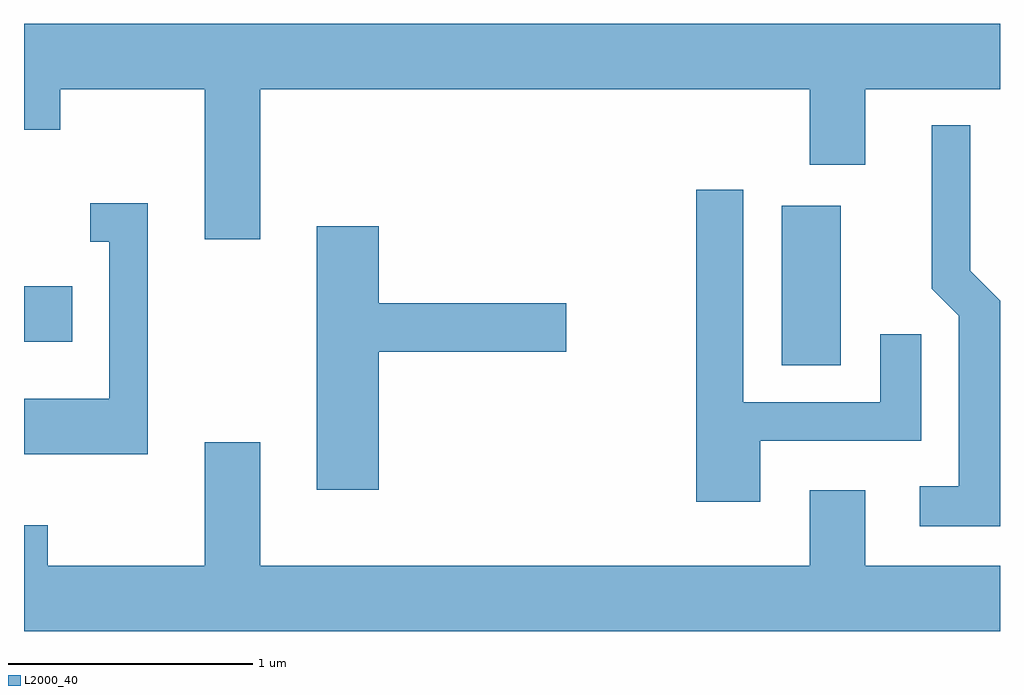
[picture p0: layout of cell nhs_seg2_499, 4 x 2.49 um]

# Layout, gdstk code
import gdstk
lib = gdstk.Library(unit=1e-6, precision=1e-09)
def R(c, l, rs):  # rectangles x0, y0, x1, y1
    for r in rs: c.add(gdstk.rectangle(r[:2], r[2:], *l))
def P(c, l, *ps):  # polygons
    for p in ps: c.add(gdstk.Polygon(p, *l))
L2000_40 = (2000, 40)

nhs_seg2_499 = lib.new_cell('nhs_seg2_499')
R(nhs_seg2_499, L2000_40, [(202.716,1024.986,202.959,1025.639), (199.611,1025.081,199.809,1025.309)])
P(nhs_seg2_499, L2000_40, [(200.579,1026.116),(202.831,1026.116),(202.831,1025.806),(203.059,1025.806),(203.059,1026.116),(203.611,1026.116),(203.611,1026.384),(199.611,1026.384),(199.611,1025.951),(199.759,1025.951),(199.759,1026.116),(200.351,1026.116),(200.351,1025.501),(200.579,1025.501)],
  [(203.611,1025.25),(203.489,1025.372),(203.489,1025.968),(203.331,1025.968),(203.331,1025.299),(203.441,1025.189),(203.441,1024.489),(203.283,1024.489),(203.283,1024.326),(203.611,1024.326)],
  [(202.629,1024.676),(203.289,1024.676),(203.289,1025.113),(203.121,1025.113),(203.121,1024.834),(202.559,1024.834),(202.559,1025.704),(202.366,1025.704),(202.366,1024.426),(202.629,1024.426)],
  [(200.119,1025.649),(199.883,1025.649),(199.883,1025.491),(199.961,1025.491),(199.961,1024.849),(199.611,1024.849),(199.611,1024.621),(200.119,1024.621)],
  [(201.064,1025.041),(201.834,1025.041),(201.834,1025.239),(201.064,1025.239),(201.064,1025.554),(200.811,1025.554),(200.811,1024.476),(201.064,1024.476)],
  [(203.611,1024.164),(203.059,1024.164),(203.059,1024.474),(202.831,1024.474),(202.831,1024.164),(200.579,1024.164),(200.579,1024.669),(200.351,1024.669),(200.351,1024.164),(199.709,1024.164),(199.709,1024.329),(199.611,1024.329),(199.611,1023.896),(203.611,1023.896)])

lib.write_gds('nhs_seg2_499.gds')
